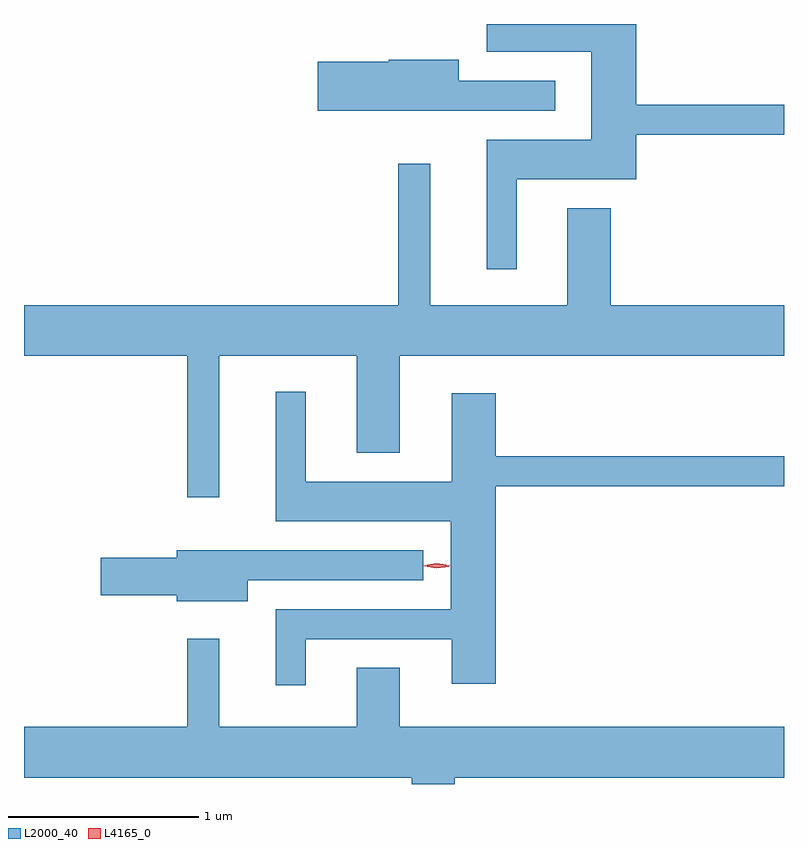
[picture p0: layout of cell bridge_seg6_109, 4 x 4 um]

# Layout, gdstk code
import gdstk
lib = gdstk.Library(unit=1e-6, precision=1e-09)
def P(c, l, *ps):  # polygons
    for p in ps: c.add(gdstk.Polygon(p, *l))
L2000_40 = (2000, 40)
L4165_0 = (4165, 0)

bridge_seg6_109 = lib.new_cell('bridge_seg6_109')
P(bridge_seg6_109, L2000_40, [(1141.714,1644.206),(1142.344,1644.206),(1142.344,1644.441),(1143.121,1644.441),(1143.121,1644.599),(1142.344,1644.599),(1142.344,1645.023),(1141.556,1645.023),(1141.556,1644.876),(1142.106,1644.876),(1142.106,1644.414),(1141.556,1644.414),(1141.556,1643.733),(1141.714,1643.733)],
  [(1141.918,1644.724),(1141.409,1644.724),(1141.409,1644.834),(1141.04,1644.834),(1141.04,1644.824),(1140.666,1644.824),(1140.666,1644.566),(1141.918,1644.566)],
  [(1140.149,1643.276),(1140.871,1643.276),(1140.871,1642.766),(1141.099,1642.766),(1141.099,1643.276),(1143.121,1643.276),(1143.121,1643.544),(1142.209,1643.544),(1142.209,1644.054),(1141.981,1644.054),(1141.981,1643.544),(1141.259,1643.544),(1141.259,1644.288),(1141.091,1644.288),(1141.091,1643.544),(1139.121,1643.544),(1139.121,1643.276),(1139.981,1643.276),(1139.981,1642.533),(1140.149,1642.533)],
  [(1140.604,1641.786),(1141.371,1641.786),(1141.371,1641.551),(1141.604,1641.551),(1141.604,1642.591),(1143.121,1642.591),(1143.121,1642.749),(1141.604,1642.749),(1141.604,1643.079),(1141.371,1643.079),(1141.371,1642.614),(1140.604,1642.614),(1140.604,1643.088),(1140.446,1643.088),(1140.446,1642.406),(1141.366,1642.406),(1141.366,1641.944),(1140.446,1641.944),(1140.446,1641.543),(1140.604,1641.543)],
  [(1140.299,1642.096),(1141.223,1642.096),(1141.223,1642.254),(1139.926,1642.254),(1139.926,1642.214),(1139.526,1642.214),(1139.526,1642.016),(1139.926,1642.016),(1139.926,1641.986),(1140.299,1641.986)],
  [(1141.161,1641.023),(1141.389,1641.023),(1141.389,1641.056),(1143.121,1641.056),(1143.121,1641.324),(1141.099,1641.324),(1141.099,1641.634),(1140.871,1641.634),(1140.871,1641.324),(1140.149,1641.324),(1140.149,1641.788),(1139.981,1641.788),(1139.981,1641.324),(1139.121,1641.324),(1139.121,1641.056),(1141.161,1641.056)])
P(bridge_seg6_109, L4165_0, [(1141.293,1642.164),(1141.224,1642.174),(1141.224,1642.175),(1141.224,1642.175),(1141.293,1642.184),(1141.362,1642.175),(1141.363,1642.174),(1141.362,1642.174)],
  [(1141.293,1642.159),(1141.227,1642.169),(1141.227,1642.17),(1141.227,1642.17),(1141.293,1642.179),(1141.359,1642.168),(1141.36,1642.168),(1141.359,1642.167)])

lib.write_gds('bridge_seg6_109.gds')
